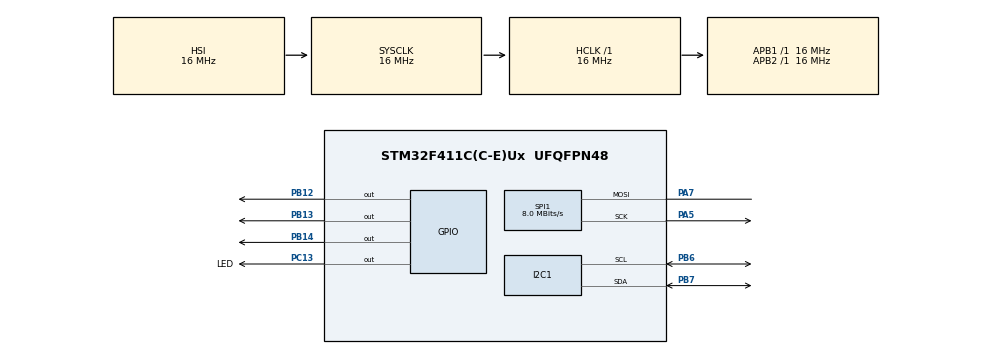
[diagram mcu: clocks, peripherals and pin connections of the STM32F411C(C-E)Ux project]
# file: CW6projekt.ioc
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Mcu.Family=STM32F4
Mcu.Name=STM32F411C(C-E)Ux
Mcu.Package=UFQFPN48
NVIC.PriorityGroup=NVIC_PRIORITYGROUP_4
PA5.Mode=Simplex_Bidirectional_Master
PA5.Signal=SPI1_SCK
PA6.Signal=SPI1_MISO
PA7.Mode=Simplex_Bidirectional_Master
PA7.Signal=SPI1_MOSI
PB12.Signal=GPIO_Output
PB13.Signal=GPIO_Output
PB14.Signal=GPIO_Output
PB6.Mode=I2C
PB6.Signal=I2C1_SCL
PB7.Mode=I2C
PB7.Signal=I2C1_SDA
PC13-ANTI_TAMP.GPIO_Label=LED
PC13-ANTI_TAMP.Signal=GPIO_Output
ProjectManager.HeapSize=0x200
ProjectManager.StackSize=0x400
ProjectManager.TargetToolchain=STM32CubeIDE
RCC.AHBFreq_Value=16000000
RCC.APB1Freq_Value=16000000
RCC.APB2Freq_Value=16000000
RCC.CortexFreq_Value=16000000
RCC.HSE_VALUE=25000000
RCC.HSI_VALUE=16000000
RCC.LSE_VALUE=32768
RCC.SYSCLKFreq_VALUE=16000000
RCC.VCOOutputFreq_Value=192000000
SPI1.CalculateBaudRate=8.0 MBits/s
SPI1.Direction=SPI_DIRECTION_1LINE
SPI1.Mode=SPI_MODE_MASTER
SPI1.VirtualType=VM_MASTER
board=custom

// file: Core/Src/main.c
/* USER CODE BEGIN Header */
/**
  ******************************************************************************
  * @file           : main.c
  * @brief          : Main program body
  ******************************************************************************
  * @attention
  *
  * Copyright (c) 2025 STMicroelectronics.
  * All rights reserved.
  *
  * This software is licensed under terms that can be found in the LICENSE file
  * in the root directory of this software component.
  * If no LICENSE file comes with this software, it is provided AS-IS.
  *
  ******************************************************************************
  */
/* USER CODE END Header */
#include "main.h"

/* USER CODE BEGIN Includes */
#include "math.h"
#include "library/st7735/st7735.h"
#include "data.h"
#include "library/apds9960/apds9960.h"
#include <stdio.h>
#include <stdint.h>
/* USER CODE END Includes */

I2C_HandleTypeDef hi2c1;

SPI_HandleTypeDef hspi1;

void SystemClock_Config(void);
static void MX_GPIO_Init(void);
static void MX_I2C1_Init(void);
static void MX_SPI1_Init(void);

/* USER CODE BEGIN 0 */

float Math(float r,float g,float b){

  float candidate = 0;
  uint16_t candidate_distance = UINT16_MAX;

	for (int i = 0; i < DATA_LENGTH; i++) {
		  uint16_t distance = sqrt(pow(data[i][0] - r, 2) + pow(data[i][1] - g, 2) + pow(data[i][2] - b, 2));

	      if (distance < candidate_distance) {
	          candidate = results[i];
	          candidate_distance = distance;
	          }
	      }

	return candidate;
}

void ShowData(float candidate){
	  ST7735_FillRectangle(19, 67+15, 19+16*7, 67+15+1*10, ST7735_BLACK);

	  char buf[16];
	  sprintf(buf, "%f nm", candidate);
	  ST7735_WriteString(19, 67+15, &buf[0], Font_7x10, ST7735_WHITE, ST7735_BLACK);
}

/* USER CODE END 0 */

int main(void)
{

  /* MCU Configuration--------------------------------------------------------*/

  /* Reset of all peripherals, Initializes the Flash interface and the Systick. */
  HAL_Init();

  /* Configure the system clock */
  SystemClock_Config();

  /* Initialize all configured peripherals */
  MX_GPIO_Init();
  MX_I2C1_Init();
  MX_SPI1_Init();
  /* USER CODE BEGIN 2 */

  //czujnik
  apds9960_init(&hi2c1);

  //Wyswietlacz
  ST7735_Init();
  ST7735_FillScreen(ST7735_BLACK);
  char ConstantText[] = "Dlugosc fali:";
  ST7735_WriteString(19, 67, &ConstantText[0], Font_7x10, ST7735_WHITE, ST7735_BLACK);

  /* USER CODE END 2 */

  /* Infinite loop */
   while (1)
   {

    /* USER CODE BEGIN 3 */

	   //pomocniczne - do usunięcia
 	  HAL_GPIO_TogglePin(LED_GPIO_Port, LED_Pin);
 	  HAL_Delay(100);

 	  uint16_t r, g, b;
 	  apds9960_read_colors(&hi2c1, &r, &g, &b);

 	  r = 1.7*r;
 	  g = 1.7*g;
 	  b = 1.7*b;

 	 float candidate = Math(r, g, b);

 	 ShowData(candidate);

   }
  /* USER CODE END 3 */
}

void SystemClock_Config(void)
{
  RCC_OscInitTypeDef RCC_OscInitStruct = {0};
  RCC_ClkInitTypeDef RCC_ClkInitStruct = {0};

  /** Configure the main internal regulator output voltage
  */
  __HAL_RCC_PWR_CLK_ENABLE();
  __HAL_PWR_VOLTAGESCALING_CONFIG(PWR_REGULATOR_VOLTAGE_SCALE1);

  /** Initializes the RCC Oscillators according to the specified parameters
  * in the RCC_OscInitTypeDef structure.
  */
  RCC_OscInitStruct.OscillatorType = RCC_OSCILLATORTYPE_HSI;
  RCC_OscInitStruct.HSIState = RCC_HSI_ON;
  RCC_OscInitStruct.HSICalibrationValue = RCC_HSICALIBRATION_DEFAULT;
  RCC_OscInitStruct.PLL.PLLState = RCC_PLL_NONE;
  if (HAL_RCC_OscConfig(&RCC_OscInitStruct) != HAL_OK)
  {
    Error_Handler();
  }

  /** Initializes the CPU, AHB and APB buses clocks
  */
  RCC_ClkInitStruct.ClockType = RCC_CLOCKTYPE_HCLK|RCC_CLOCKTYPE_SYSCLK
                              |RCC_CLOCKTYPE_PCLK1|RCC_CLOCKTYPE_PCLK2;
  RCC_ClkInitStruct.SYSCLKSource = RCC_SYSCLKSOURCE_HSI;
  RCC_ClkInitStruct.AHBCLKDivider = RCC_SYSCLK_DIV1;
  RCC_ClkInitStruct.APB1CLKDivider = RCC_HCLK_DIV1;
  RCC_ClkInitStruct.APB2CLKDivider = RCC_HCLK_DIV1;

  if (HAL_RCC_ClockConfig(&RCC_ClkInitStruct, FLASH_LATENCY_0) != HAL_OK)
  {
    Error_Handler();
  }
}

static void MX_I2C1_Init(void)
{

  hi2c1.Instance = I2C1;
  hi2c1.Init.ClockSpeed = 100000;
  hi2c1.Init.DutyCycle = I2C_DUTYCYCLE_2;
  hi2c1.Init.OwnAddress1 = 0;
  hi2c1.Init.AddressingMode = I2C_ADDRESSINGMODE_7BIT;
  hi2c1.Init.DualAddressMode = I2C_DUALADDRESS_DISABLE;
  hi2c1.Init.OwnAddress2 = 0;
  hi2c1.Init.GeneralCallMode = I2C_GENERALCALL_DISABLE;
  hi2c1.Init.NoStretchMode = I2C_NOSTRETCH_DISABLE;
  if (HAL_I2C_Init(&hi2c1) != HAL_OK)
  {
    Error_Handler();
  }

}

static void MX_SPI1_Init(void)
{

  /* SPI1 parameter configuration*/
  hspi1.Instance = SPI1;
  hspi1.Init.Mode = SPI_MODE_MASTER;
  hspi1.Init.Direction = SPI_DIRECTION_1LINE;
  hspi1.Init.DataSize = SPI_DATASIZE_8BIT;
  hspi1.Init.CLKPolarity = SPI_POLARITY_LOW;
  hspi1.Init.CLKPhase = SPI_PHASE_1EDGE;
  hspi1.Init.NSS = SPI_NSS_SOFT;
  hspi1.Init.BaudRatePrescaler = SPI_BAUDRATEPRESCALER_2;
  hspi1.Init.FirstBit = SPI_FIRSTBIT_MSB;
  hspi1.Init.TIMode = SPI_TIMODE_DISABLE;
  hspi1.Init.CRCCalculation = SPI_CRCCALCULATION_DISABLE;
  hspi1.Init.CRCPolynomial = 10;
  if (HAL_SPI_Init(&hspi1) != HAL_OK)
  {
    Error_Handler();
  }

}

static void MX_GPIO_Init(void)
{
  GPIO_InitTypeDef GPIO_InitStruct = {0};

  /* GPIO Ports Clock Enable */
  __HAL_RCC_GPIOC_CLK_ENABLE();
  __HAL_RCC_GPIOA_CLK_ENABLE();
  __HAL_RCC_GPIOB_CLK_ENABLE();

  /*Configure GPIO pin Output Level */
  HAL_GPIO_WritePin(LED_GPIO_Port, LED_Pin, GPIO_PIN_RESET);

  /*Configure GPIO pin Output Level */
  HAL_GPIO_WritePin(GPIOB, GPIO_PIN_12|GPIO_PIN_13|GPIO_PIN_14, GPIO_PIN_RESET);

  /*Configure GPIO pin : LED_Pin */
  GPIO_InitStruct.Pin = LED_Pin;
  GPIO_InitStruct.Mode = GPIO_MODE_OUTPUT_PP;
  GPIO_InitStruct.Pull = GPIO_NOPULL;
  GPIO_InitStruct.Speed = GPIO_SPEED_FREQ_LOW;
  HAL_GPIO_Init(LED_GPIO_Port, &GPIO_InitStruct);

  /*Configure GPIO pins : PB12 PB13 PB14 */
  GPIO_InitStruct.Pin = GPIO_PIN_12|GPIO_PIN_13|GPIO_PIN_14;
  GPIO_InitStruct.Mode = GPIO_MODE_OUTPUT_PP;
  GPIO_InitStruct.Pull = GPIO_NOPULL;
  GPIO_InitStruct.Speed = GPIO_SPEED_FREQ_LOW;
  HAL_GPIO_Init(GPIOB, &GPIO_InitStruct);

}

void Error_Handler(void)
{
  __disable_irq();
  while (1)
  {
  }
}
